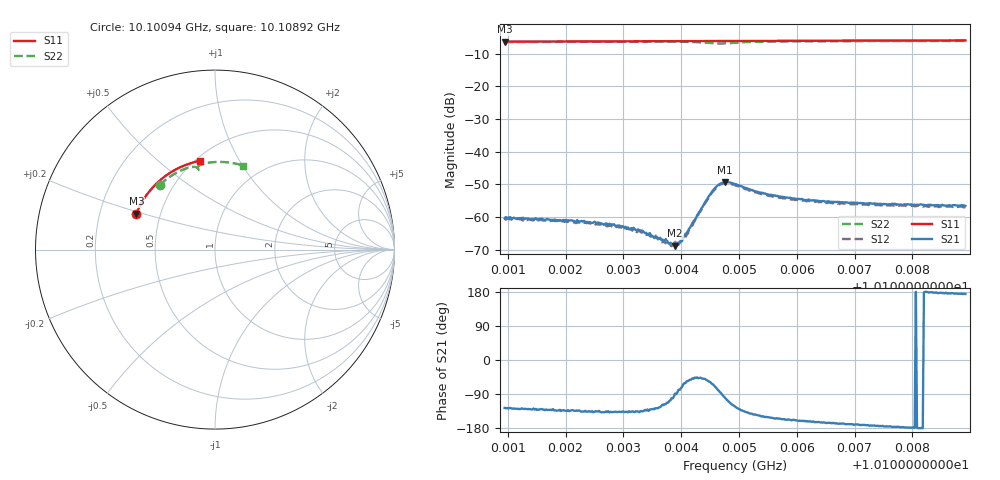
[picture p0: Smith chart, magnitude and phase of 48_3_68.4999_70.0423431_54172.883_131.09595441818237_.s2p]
#  HZ  S  RI  R  50.00
! Rohde & Schwarz Vector Network Analyzer
! Rohde-Schwarz,ZNB20-2Port,1311601062101988,3.16
! Created: UTC 3/20/2024, 5:05:53 PM
! freq[Hz]  re:S11  im:S11  re:S21  im:S21  re:S12  im:S12  re:S22  im:S22
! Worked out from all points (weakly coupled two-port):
!   401 points, 10.10094 GHz to 10.10892 GHz, reference 50 ohm
!   highest |S21| = -49.23 dB at 10.10475 GHz (marker M1); lowest = -68.7 dB at 10.10389 GHz (marker M2)
!   lowest |S11| = -6.3 dB at 10.10094 GHz (marker M3), VSWR 2.86, Z = 18.2 + j9.49 ohm
!   |S11| at or under -10 dB: nowhere
!   |S22| runs from -6.9 to -6.1 dB; largest |S21 - S12| = 0.00037
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1.0100945e10  -0.4379 0.2  -0.000571 -0.00077  -0.000494 -0.000807  -0.3086 0.3598
1.010228e10  -0.4018 0.2729  -0.000633 -0.000606  -0.000546 -0.000636  -0.2404 0.4132
1.0102878e10  -0.3818 0.3032  -0.000535 -0.000498  -0.000483 -0.000513  -0.2061 0.4327
1.0103217e10  -0.3696 0.3196  -0.000447 -0.000445  -0.000406 -0.000439  -0.1858 0.4429
1.0103297e10  -0.3665 0.3234  -0.000441 -0.000437  -0.000399 -0.000437  -0.1808 0.445
1.0103516e10  -0.3581 0.3338  -0.000315 -0.000391  -0.000289 -0.000384  -0.1667 0.4505
1.0103596e10  -0.3549 0.3374  -0.000295 -0.000385  -0.000225 -0.000398  -0.1614 0.4523
1.0103616e10  -0.3542 0.3382  -0.00027 -0.00038  -0.000222 -0.000411  -0.1601 0.4529
1.0103795e10  -0.3469 0.3464  -0.000123 -0.000371  -8.39e-05 -0.000353  -0.1478 0.4568
1.0103895e10  -0.3428 0.3509  1.06e-05 -0.000368  5.34e-05 -0.000418  -0.1404 0.4585
1.0103975e10  -0.3395 0.3545  7.92e-05 -0.000394  0.000133 -0.000401  -0.1346 0.4597
1.0104074e10  -0.3351 0.3589  0.000269 -0.00048  0.00028 -0.000408  -0.1268 0.4607
1.0104413e10  -0.3205 0.3731  0.00109 -0.00129  0.00113 -0.00116  -0.0988 0.4559
1.0104553e10  -0.3143 0.3788  0.00109 -0.00233  0.00123 -0.00214  -0.0924 0.4464
1.0104652e10  -0.3098 0.3827  0.000462 -0.00312  0.00074 -0.00294  -0.0944 0.4404
1.0104752e10  -0.3054 0.3867  -0.000508 -0.00342  -0.000205 -0.0033  -0.1001 0.4407
1.0104931e10  -0.2971 0.3937  -0.00175 -0.00269  -0.00143 -0.00275  -0.1014 0.4536
1.010529e10  -0.2801 0.4073  -0.00201 -0.00145  -0.00183 -0.00152  -0.0794 0.4726
1.0105549e10  -0.2675 0.4164  -0.00195 -0.00102  -0.00177 -0.00116  -0.0612 0.4791
1.0106267e10  -0.2307 0.4398  -0.00172 -0.000535  -0.00161 -0.000676  -0.012 0.4871
1.0107603e10  -0.1577 0.4738  -0.00157 -0.000119  -0.00148 -0.000272  0.0749 0.4855
1.0108918e10  -0.0811 0.4953  -0.00148 0.000152  -0.00142 1.63e-06  0.1573 0.4684
